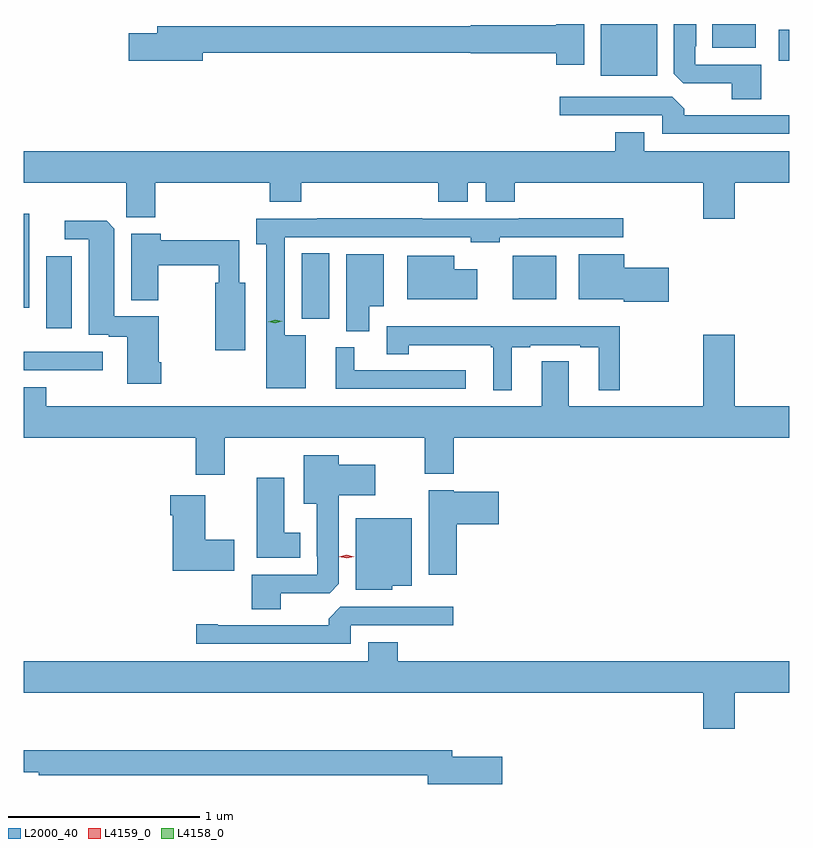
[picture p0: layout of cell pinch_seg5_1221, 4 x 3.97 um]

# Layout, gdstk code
import gdstk
lib = gdstk.Library(unit=1e-6, precision=1e-09)
def R(c, l, rs):  # rectangles x0, y0, x1, y1
    for r in rs: c.add(gdstk.rectangle(r[:2], r[2:], *l))
def P(c, l, *ps):  # polygons
    for p in ps: c.add(gdstk.Polygon(p, *l))
L2000_40 = (2000, 40)
L4158_0 = (4158, 0)
L4159_0 = (4159, 0)

pinch_seg5_1221 = lib.new_cell('pinch_seg5_1221')
R(pinch_seg5_1221, L2000_40, [(425.194,882.42,425.608,882.516), (425.312,882.639,425.446,883.015), (426.647,882.689,426.79,883.031), (425.194,882.747,425.224,883.237), (427.748,882.791,427.975,883.018), (428.21,883.958,428.503,884.229), (429.138,884.036,429.194,884.199), (428.792,884.105,429.019,884.229)])
P(pinch_seg5_1221, L2000_40, [(429.047,884.016),(428.703,884.016),(428.703,884.113),(428.707,884.113),(428.707,884.229),(428.591,884.229),(428.591,883.969),(428.64,883.92),(428.894,883.92),(428.894,883.837),(429.047,883.837)],
  [(428.122,884.229),(427.976,884.229),(427.976,884.222),(427.53,884.222),(427.53,884.216),(425.891,884.216),(425.891,884.18),(425.742,884.18),(425.742,884.038),(426.13,884.038),(426.13,884.08),(427.53,884.08),(427.53,884.075),(427.976,884.075),(427.976,884.016),(428.122,884.016)],
  [(429.194,883.752),(428.645,883.752),(428.645,883.786),(428.583,883.848),(427.995,883.848),(427.995,883.752),(428.529,883.752),(428.529,883.656),(429.194,883.656)],
  [(425.194,883.4),(425.731,883.4),(425.731,883.219),(425.882,883.219),(425.882,883.4),(426.479,883.4),(426.479,883.301),(426.644,883.301),(426.644,883.4),(427.361,883.4),(427.361,883.301),(427.513,883.301),(427.513,883.4),(427.607,883.4),(427.607,883.301),(427.76,883.301),(427.76,883.4),(428.744,883.4),(428.744,883.212),(428.908,883.212),(428.908,883.4),(429.194,883.4),(429.194,883.564),(428.437,883.564),(428.437,883.663),(428.285,883.663),(428.285,883.564),(425.194,883.564)],
  [(426.667,882.604),(426.558,882.604),(426.558,883.116),(427.53,883.116),(427.53,883.088),(427.68,883.088),(427.68,883.116),(428.326,883.116),(428.326,883.214),(427.78,883.214),(427.78,883.212),(427.277,883.212),(427.277,883.214),(426.727,883.214),(426.727,883.212),(426.408,883.212),(426.408,883.079),(426.462,883.079),(426.462,882.326),(426.667,882.326)],
  [(425.912,882.463),(425.899,882.463),(425.899,882.702),(425.668,882.702),(425.668,883.16),(425.627,883.202),(425.409,883.202),(425.409,883.104),(425.534,883.104),(425.534,882.606),(425.639,882.606),(425.639,882.594),(425.735,882.594),(425.735,882.351),(425.912,882.351)],
  [(426.352,882.877),(426.321,882.877),(426.321,883.099),(425.909,883.099),(425.909,883.134),(425.756,883.134),(425.756,882.787),(425.896,882.787),(425.896,882.97),(426.213,882.97),(426.213,882.877),(426.194,882.877),(426.194,882.525),(426.352,882.525)],
  [(427,882.755),(427.075,882.755),(427.075,883.027),(426.878,883.027),(426.878,882.625),(427,882.625)],
  [(428.563,882.957),(428.332,882.957),(428.332,883.027),(428.093,883.027),(428.093,882.791),(428.328,882.791),(428.328,882.779),(428.563,882.779)],
  [(427.564,882.949),(427.444,882.949),(427.444,883.018),(427.199,883.018),(427.199,882.791),(427.564,882.791)],
  [(427.744,882.54),(427.84,882.54),(427.84,882.552),(428.102,882.552),(428.102,882.54),(428.198,882.54),(428.198,882.317),(428.308,882.317),(428.308,882.649),(427.092,882.649),(427.092,882.505),(427.205,882.505),(427.205,882.551),(427.635,882.551),(427.635,882.54),(427.646,882.54),(427.646,882.317),(427.744,882.317)],
  [(426.244,882.068),(427.289,882.068),(427.289,881.879),(427.442,881.879),(427.442,882.068),(429.194,882.068),(429.194,882.232),(428.908,882.232),(428.908,882.607),(428.744,882.607),(428.744,882.232),(428.041,882.232),(428.041,882.467),(427.901,882.467),(427.901,882.232),(425.313,882.232),(425.313,882.331),(425.194,882.331),(425.194,882.068),(426.092,882.068),(426.092,881.874),(426.244,881.874)],
  [(427.504,882.42),(426.922,882.42),(426.922,882.54),(426.824,882.54),(426.824,882.324),(427.504,882.324)],
  [(426.538,881.256),(426.792,881.256),(426.841,881.305),(426.841,881.768),(427.03,881.768),(427.03,881.926),(426.841,881.926),(426.841,881.977),(426.656,881.977),(426.656,881.723),(426.725,881.723),(426.725,881.449),(426.729,881.449),(426.729,881.352),(426.386,881.352),(426.386,881.173),(426.538,881.173)],
  [(426.64,881.572),(426.556,881.572),(426.556,881.86),(426.413,881.86),(426.413,881.441),(426.64,881.441)],
  [(427.457,881.615),(427.675,881.615),(427.675,881.785),(427.44,881.785),(427.44,881.794),(427.31,881.794),(427.31,881.352),(427.457,881.352)],
  [(426.295,881.535),(426.142,881.535),(426.142,881.767),(425.96,881.767),(425.96,881.663),(425.972,881.663),(425.972,881.372),(426.295,881.372)],
  [(427.119,881.294),(427.222,881.294),(427.222,881.647),(426.929,881.647),(426.929,881.273),(427.119,881.273)],
  [(426.903,881.088),(427.438,881.088),(427.438,881.184),(426.849,881.184),(426.788,881.122),(426.788,881.088),(426.208,881.088),(426.208,881.093),(426.096,881.093),(426.096,880.992),(426.903,880.992)],
  [(428.908,880.736),(429.194,880.736),(429.194,880.9),(427.148,880.9),(427.148,880.999),(426.995,880.999),(426.995,880.9),(425.194,880.9),(425.194,880.736),(428.744,880.736),(428.744,880.548),(428.908,880.548)],
  [(427.693,880.401),(427.432,880.401),(427.432,880.435),(425.194,880.435),(425.194,880.321),(425.272,880.321),(425.272,880.306),(427.304,880.306),(427.304,880.259),(427.693,880.259)])
P(pinch_seg5_1221, L4158_0, [(426.509,882.665),(426.473,882.674),(426.473,882.674),(426.473,882.674),(426.509,882.685),(426.545,882.677),(426.545,882.676),(426.545,882.676)])
P(pinch_seg5_1221, L4159_0, [(426.881,881.437),(426.84,881.446),(426.84,881.447),(426.84,881.447),(426.881,881.457),(426.922,881.447),(426.922,881.447),(426.922,881.446)])

lib.write_gds('pinch_seg5_1221.gds')
